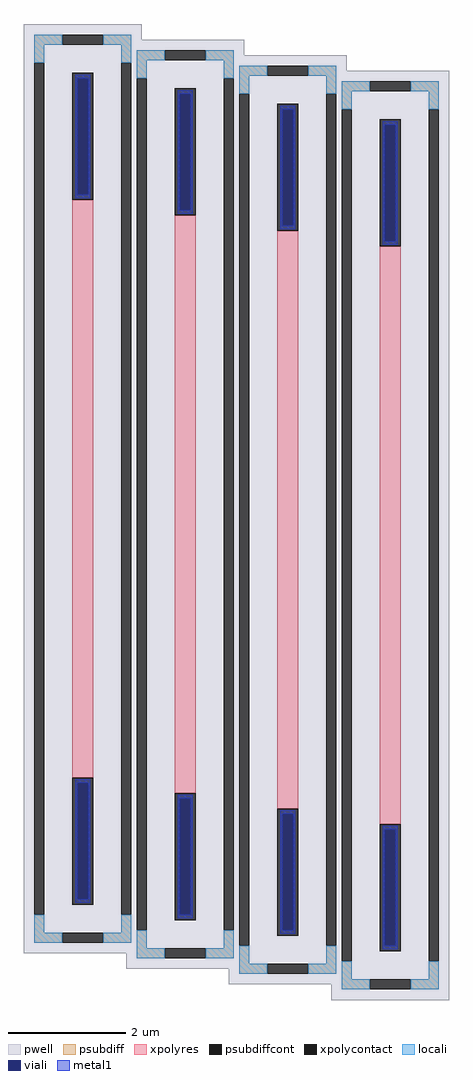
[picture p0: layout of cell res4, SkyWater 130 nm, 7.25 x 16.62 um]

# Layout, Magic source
magic
tech sky130A
magscale 1 2
use sky130_fd_pr__res_xhigh_po_0p35_KNBXRF  XR1
transform 1 0 148 0 1 1529
box -201 -1582 201 1582
use sky130_fd_pr__res_xhigh_po_0p35_KNBXRF  XR2
transform 1 0 497 0 1 1476
box -201 -1582 201 1582
use sky130_fd_pr__res_xhigh_po_0p35_KNBXRF  XR3
transform 1 0 846 0 1 1423
box -201 -1582 201 1582
use sky130_fd_pr__res_xhigh_po_0p35_KNBXRF  XR4
transform 1 0 1195 0 1 1370
box -201 -1582 201 1582
<< end >>

# cell sky130_fd_pr__res_xhigh_po_0p35_KNBXRF: kit device sky130_fd_pr__res_xhigh_po_0p35, w 0.350 l 10.0 m 1 nx 1 wmin 0.350 lmin 0.50 rho 2000 val 58.218k dummy 0 dw 0.0 term 188.2 sterm 0.0 caplen 0 wmax 0.350 guard 1 glc 1 grc 1 gtc 1 gbc 1 compatible {sky130_fd_pr__res_xhigh_po_0p35 sky130_fd_pr__res_xhigh_po_0p69 sky130_fd_pr__res_xhigh_po_1p41 sky130_fd_pr__res_xhigh_po_2p85 sky130_fd_pr__res_xhigh_po_5p73} snake 0 full_metal 1 n_guard 0 hv_guard 0 vias 1 viagb 0 viagt 0 viagl 0 viagr 0
